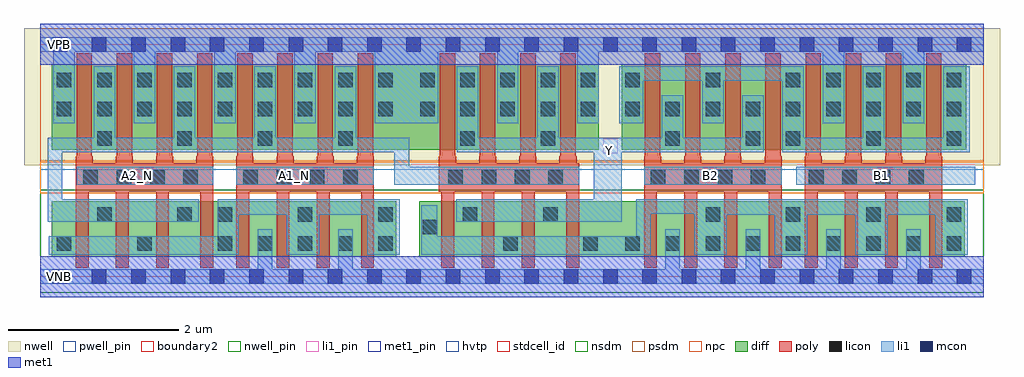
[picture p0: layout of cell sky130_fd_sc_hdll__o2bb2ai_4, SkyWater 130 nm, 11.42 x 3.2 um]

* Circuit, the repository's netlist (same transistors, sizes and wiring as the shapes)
* Copyright 2020 The SkyWater PDK Authors
*
* Licensed under the Apache License, Version 2.0 (the "License");
* you may not use this file except in compliance with the License.
* You may obtain a copy of the License at
*
*     https://www.apache.org/licenses/LICENSE-2.0
*
* Unless required by applicable law or agreed to in writing, software
* distributed under the License is distributed on an "AS IS" BASIS,
* WITHOUT WARRANTIES OR CONDITIONS OF ANY KIND, either express or implied.
* See the License for the specific language governing permissions and
* limitations under the License.
*
* SPDX-License-Identifier: Apache-2.0

.SUBCKT sky130_fd_sc_hdll__o2bb2ai_4 A1_N A2_N B1 B2 VGND VNB VPB VPWR Y
*.PININFO A1_N:I A2_N:I B1:I B2:I VGND:I VNB:I VPB:I VPWR:I Y:O
MMNnand0 VGND A1_N sndNA1N VNB sky130_fd_pr__nfet_01v8 m=4 w=0.65U l=0.15U mult=1
+ sa=0.265 sb=0.265 sd=0.28 area=0.063 perim=1.14
MMNnand1 sndNA1N A2_N inand VNB sky130_fd_pr__nfet_01v8 m=4 w=0.65U l=0.15U mult=1
+ sa=0.265 sb=0.265 sd=0.28 area=0.063 perim=1.14
MMNaoi10 nmid B1 VGND VNB sky130_fd_pr__nfet_01v8 m=4 w=0.65U l=0.15U mult=1 sa=0.265
+ sb=0.265 sd=0.28 area=0.063 perim=1.14
MMNaoi11 nmid B2 VGND VNB sky130_fd_pr__nfet_01v8 m=4 w=0.65U l=0.15U mult=1 sa=0.265
+ sb=0.265 sd=0.28 area=0.063 perim=1.14
MMNaoi20 Y inand nmid VNB sky130_fd_pr__nfet_01v8 m=4 w=0.65U l=0.15U mult=1 sa=0.265
+ sb=0.265 sd=0.28 area=0.063 perim=1.14
MMPnand0 inand A1_N VPWR VPB sky130_fd_pr__pfet_01v8_hvt m=4 w=1.0U l=0.18U mult=1
+ sa=0.265 sb=0.265 sd=0.28 area=0.063 perim=1.14
MMPnand1 inand A2_N VPWR VPB sky130_fd_pr__pfet_01v8_hvt m=4 w=1.0U l=0.18U mult=1
+ sa=0.265 sb=0.265 sd=0.28 area=0.063 perim=1.14
MMPaoi10 VPWR B1 sndPB1 VPB sky130_fd_pr__pfet_01v8_hvt m=4 w=1.0U l=0.18U mult=1
+ sa=0.265 sb=0.265 sd=0.28 area=0.063 perim=1.14
MMPaoi11 sndPB1 B2 Y VPB sky130_fd_pr__pfet_01v8_hvt m=4 w=1.0U l=0.18U mult=1
+ sa=0.265 sb=0.265 sd=0.28 area=0.063 perim=1.14
MMPaoi20 Y inand VPWR VPB sky130_fd_pr__pfet_01v8_hvt m=4 w=1.0U l=0.18U mult=1
+ sa=0.265 sb=0.265 sd=0.28 area=0.063 perim=1.14
.ENDS sky130_fd_sc_hdll__o2bb2ai_4

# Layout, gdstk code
import gdstk
lib = gdstk.Library(unit=1e-6, precision=1e-09)
def R(c, l, rs):  # rectangles x0, y0, x1, y1
    for r in rs: c.add(gdstk.rectangle(r[:2], r[2:], *l))
def A(c, l, x, y, w, h, nx, ny, dx, dy):  # array of equal rectangles
    R(c, l, [(x+i*dx, y+j*dy, x+i*dx+w, y+j*dy+h) for i in range(nx) for j in range(ny)])
def P(c, l, *ps):  # polygons
    for p in ps: c.add(gdstk.Polygon(p, *l))
nwell_pin = (64, 16)
nwell = (64, 20)
diff = (65, 20)
poly = (66, 20)
licon = (66, 44)
li1_pin = (67, 16)
li1 = (67, 20)
mcon = (67, 44)
met1_pin = (68, 16)
met1 = (68, 20)
hvtp = (78, 44)
stdcell_id = (81, 4)
nsdm = (93, 44)
psdm = (94, 20)
npc = (95, 20)
pwell_pin = (122, 16)
boundary2 = (236, 0)

sky130_fd_sc_hdll__o2bb2 = lib.new_cell('sky130_fd_sc_hdll__o2bb2ai_4')
R(sky130_fd_sc_hdll__o2bb2, nwell_pin, [(0.135,2.635,0.305,2.805)])
R(sky130_fd_sc_hdll__o2bb2, nwell, [(-0.19,1.305,11.23,2.91)])
R(sky130_fd_sc_hdll__o2bb2, diff, [(0.135,0.235,4.165,0.885), (4.435,0.235,10.815,0.885), (0.135,1.485,6.535,2.485), (6.805,1.485,10.835,2.485)])
P(sky130_fd_sc_hdll__o2bb2, poly, [(2.025,1.41),(2.015,1.41),(2.015,2.615),(1.835,2.615),(1.835,1.41),(1.825,1.41),(1.825,1.325),(1.555,1.325),(1.555,1.41),(1.545,1.41),(1.545,2.615),(1.365,2.615),(1.365,1.41),(1.355,1.41),(1.355,1.325),(1.085,1.325),(1.085,1.41),(1.075,1.41),(1.075,2.615),(0.895,2.615),(0.895,1.41),(0.885,1.41),(0.885,1.325),(0.615,1.325),(0.615,1.41),(0.605,1.41),(0.605,2.615),(0.425,2.615),(0.425,1.41),(0.415,1.41),(0.415,0.105),(0.565,0.105),(0.565,0.995),(0.885,0.995),(0.885,0.105),(1.035,0.105),(1.035,0.995),(1.355,0.995),(1.355,0.105),(1.505,0.105),(1.505,0.995),(1.875,0.995),(1.875,0.105),(2.025,0.105)],
  [(3.905,1.41),(3.895,1.41),(3.895,2.615),(3.715,2.615),(3.715,1.41),(3.705,1.41),(3.705,1.325),(3.435,1.325),(3.435,1.41),(3.425,1.41),(3.425,2.615),(3.245,2.615),(3.245,1.41),(3.235,1.41),(3.235,1.325),(2.965,1.325),(2.965,1.41),(2.955,1.41),(2.955,2.615),(2.775,2.615),(2.775,1.41),(2.765,1.41),(2.765,1.325),(2.495,1.325),(2.495,1.41),(2.485,1.41),(2.485,2.615),(2.305,2.615),(2.305,1.41),(2.295,1.41),(2.295,0.105),(2.445,0.105),(2.445,0.995),(2.765,0.995),(2.765,0.105),(2.915,0.105),(2.915,0.995),(3.235,0.995),(3.235,0.105),(3.385,0.105),(3.385,0.995),(3.755,0.995),(3.755,0.105),(3.905,0.105)],
  [(6.305,1.325),(6.275,1.325),(6.275,1.41),(6.265,1.41),(6.265,2.615),(6.085,2.615),(6.085,1.41),(6.075,1.41),(6.075,1.325),(5.805,1.325),(5.805,1.41),(5.795,1.41),(5.795,2.615),(5.615,2.615),(5.615,1.41),(5.605,1.41),(5.605,1.325),(5.335,1.325),(5.335,1.41),(5.325,1.41),(5.325,2.615),(5.145,2.615),(5.145,1.41),(5.135,1.41),(5.135,1.325),(4.865,1.325),(4.865,1.41),(4.855,1.41),(4.855,2.615),(4.675,2.615),(4.675,1.41),(4.665,1.41),(4.665,0.995),(4.695,0.995),(4.695,0.105),(4.845,0.105),(4.845,0.995),(5.165,0.995),(5.165,0.105),(5.315,0.105),(5.315,0.995),(5.635,0.995),(5.635,0.105),(5.785,0.105),(5.785,0.995),(6.155,0.995),(6.155,0.105),(6.305,0.105)],
  [(8.675,1.41),(8.665,1.41),(8.665,2.615),(8.485,2.615),(8.485,1.41),(8.475,1.41),(8.475,1.325),(8.205,1.325),(8.205,1.41),(8.195,1.41),(8.195,2.615),(8.015,2.615),(8.015,1.41),(8.005,1.41),(8.005,1.325),(7.735,1.325),(7.735,1.41),(7.725,1.41),(7.725,2.615),(7.545,2.615),(7.545,1.41),(7.535,1.41),(7.535,1.325),(7.265,1.325),(7.265,1.41),(7.255,1.41),(7.255,2.615),(7.075,2.615),(7.075,1.41),(7.065,1.41),(7.065,0.105),(7.215,0.105),(7.215,0.995),(7.535,0.995),(7.535,0.105),(7.685,0.105),(7.685,0.995),(8.005,0.995),(8.005,0.105),(8.155,0.105),(8.155,0.995),(8.525,0.995),(8.525,0.105),(8.675,0.105)],
  [(10.555,1.41),(10.545,1.41),(10.545,2.615),(10.365,2.615),(10.365,1.41),(10.355,1.41),(10.355,1.325),(10.085,1.325),(10.085,1.41),(10.075,1.41),(10.075,2.615),(9.895,2.615),(9.895,1.41),(9.885,1.41),(9.885,1.325),(9.615,1.325),(9.615,1.41),(9.605,1.41),(9.605,2.615),(9.425,2.615),(9.425,1.41),(9.415,1.41),(9.415,1.325),(9.145,1.325),(9.145,1.41),(9.135,1.41),(9.135,2.615),(8.955,2.615),(8.955,1.41),(8.945,1.41),(8.945,0.105),(9.095,0.105),(9.095,0.995),(9.415,0.995),(9.415,0.105),(9.565,0.105),(9.565,0.995),(9.885,0.995),(9.885,0.105),(10.035,0.105),(10.035,0.995),(10.405,0.995),(10.405,0.105),(10.555,0.105)])
A(sky130_fd_sc_hdll__o2bb2, licon, 0.195, 0.305, 0.17, 0.17, 3, 1, 0.94, 0)
A(sky130_fd_sc_hdll__o2bb2, licon, 2.545, 0.305, 0.17, 0.17, 4, 1, 0.47, 0)
A(sky130_fd_sc_hdll__o2bb2, licon, 6.845, 0.305, 0.17, 0.17, 9, 2, 0.47, 1.57)
A(sky130_fd_sc_hdll__o2bb2, licon, 2.075, 0.645, 0.17, 0.17, 3, 1, 0.94, 0)
A(sky130_fd_sc_hdll__o2bb2, licon, 7.785, 0.645, 0.17, 0.17, 4, 1, 0.94, 0)
A(sky130_fd_sc_hdll__o2bb2, licon, 0.505, 1.075, 0.17, 0.17, 4, 1, 0.39, 0)
A(sky130_fd_sc_hdll__o2bb2, licon, 2.375, 1.075, 0.17, 0.17, 4, 1, 0.39, 0)
A(sky130_fd_sc_hdll__o2bb2, licon, 4.775, 1.075, 0.17, 0.17, 4, 1, 0.39, 0)
A(sky130_fd_sc_hdll__o2bb2, licon, 7.145, 1.075, 0.17, 0.17, 4, 1, 0.39, 0)
A(sky130_fd_sc_hdll__o2bb2, licon, 8.995, 1.075, 0.17, 0.17, 4, 1, 0.39, 0)
A(sky130_fd_sc_hdll__o2bb2, licon, 0.665, 1.535, 0.17, 0.17, 4, 1, 0.94, 0)
A(sky130_fd_sc_hdll__o2bb2, licon, 8.725, 1.535, 0.17, 0.17, 3, 1, 0.94, 0)
A(sky130_fd_sc_hdll__o2bb2, licon, 0.195, 1.875, 0.17, 0.17, 9, 2, 0.47, 0.34)
A(sky130_fd_sc_hdll__o2bb2, licon, 4.445, 1.875, 0.17, 0.17, 5, 2, 0.47, 0.34)
A(sky130_fd_sc_hdll__o2bb2, licon, 6.845, 2.215, 0.17, 0.17, 3, 1, 0.94, 0)
A(sky130_fd_sc_hdll__o2bb2, licon, 9.195, 2.215, 0.17, 0.17, 4, 1, 0.47, 0)
R(sky130_fd_sc_hdll__o2bb2, licon, [(5.415,0.305,5.585,0.475), (6.355,0.305,6.525,0.475), (4.475,0.495,4.645,0.665), (0.665,0.645,0.835,0.815), (1.605,0.645,1.775,0.815), (4.945,0.645,5.115,0.815), (5.885,0.645,6.055,0.815), (4.915,1.535,5.085,1.705), (5.855,1.535,6.025,1.705), (7.315,1.535,7.485,1.705), (8.255,1.535,8.425,1.705)])
R(sky130_fd_sc_hdll__o2bb2, li1_pin, [(1.155,1.105,1.325,1.275), (3.195,1.105,3.365,1.275), (7.745,1.105,7.915,1.275), (9.8,1.105,9.97,1.275), (6.585,1.445,6.755,1.615)])
R(sky130_fd_sc_hdll__o2bb2, li1, [(0.425,1.075,2.025,1.285), (2.295,1.075,3.905,1.285), (7.065,1.075,8.675,1.285), (8.845,1.075,10.94,1.285)])
P(sky130_fd_sc_hdll__o2bb2, li1, [(11.04,0.085),(10.305,0.085),(10.305,0.555),(10.135,0.555),(10.135,0.085),(9.365,0.085),(9.365,0.555),(9.195,0.555),(9.195,0.085),(8.425,0.085),(8.425,0.555),(8.255,0.555),(8.255,0.085),(7.485,0.085),(7.485,0.555),(7.315,0.555),(7.315,0.085),(3.655,0.085),(3.655,0.555),(3.485,0.555),(3.485,0.085),(2.715,0.085),(2.715,0.555),(2.545,0.555),(2.545,0.085),(0,0.085),(0,-0.085),(11.04,-0.085)],
  [(11.04,2.805),(0,2.805),(0,2.635),(0.155,2.635),(0.155,1.795),(0.405,1.795),(0.405,2.635),(1.095,2.635),(1.095,1.795),(1.345,1.795),(1.345,2.635),(2.035,2.635),(2.035,1.795),(2.285,1.795),(2.285,2.635),(2.975,2.635),(2.975,1.795),(3.225,1.795),(3.225,2.635),(3.915,2.635),(3.915,1.795),(4.655,1.795),(4.655,2.635),(5.345,2.635),(5.345,1.795),(5.595,1.795),(5.595,2.635),(6.285,2.635),(6.285,1.795),(6.535,1.795),(6.535,2.635),(9.155,2.635),(9.155,1.795),(9.405,1.795),(9.405,2.635),(10.095,2.635),(10.095,1.795),(10.345,1.795),(10.345,2.635),(11.04,2.635)],
  [(4.205,0.905),(2.075,0.905),(2.075,0.475),(0.1,0.475),(0.1,0.255),(2.325,0.255),(2.325,0.725),(2.885,0.725),(2.885,0.255),(3.265,0.255),(3.265,0.725),(3.825,0.725),(3.825,0.255),(4.205,0.255)],
  [(6.305,1.285),(4.315,1.285),(4.315,1.625),(3.695,1.625),(3.695,2.465),(3.445,2.465),(3.445,1.625),(2.755,1.625),(2.755,2.465),(2.505,2.465),(2.505,1.625),(1.815,1.625),(1.815,2.465),(1.565,2.465),(1.565,1.625),(0.875,1.625),(0.875,2.465),(0.625,2.465),(0.625,1.625),(0.085,1.625),(0.085,0.645),(1.855,0.645),(1.855,0.905),(0.255,0.905),(0.255,1.455),(4.145,1.455),(4.145,1.075),(6.305,1.075)],
  [(8.465,2.125),(8.215,2.125),(8.215,1.625),(7.525,1.625),(7.525,2.125),(7.275,2.125),(7.275,1.625),(6.065,1.625),(6.065,2.465),(5.815,2.465),(5.815,1.625),(5.125,1.625),(5.125,2.465),(4.875,2.465),(4.875,1.455),(6.475,1.455),(6.475,0.905),(4.865,0.905),(4.865,0.645),(6.805,0.645),(6.805,1.455),(8.465,1.455)],
  [(10.855,0.905),(6.975,0.905),(6.975,0.475),(4.645,0.475),(4.645,0.835),(4.46,0.835),(4.46,0.255),(7.145,0.255),(7.145,0.735),(7.655,0.735),(7.655,0.255),(8.035,0.255),(8.035,0.725),(8.595,0.725),(8.595,0.255),(8.975,0.255),(8.975,0.725),(9.535,0.725),(9.535,0.255),(9.915,0.255),(9.915,0.725),(10.475,0.725),(10.475,0.255),(10.855,0.255)],
  [(10.875,2.465),(10.565,2.465),(10.565,1.625),(9.875,1.625),(9.875,2.465),(9.625,2.465),(9.625,1.625),(8.935,1.625),(8.935,2.465),(6.775,2.465),(6.775,1.795),(7.055,1.795),(7.055,2.295),(7.745,2.295),(7.745,1.795),(7.995,1.795),(7.995,2.295),(8.685,2.295),(8.685,1.455),(10.875,1.455)])
A(sky130_fd_sc_hdll__o2bb2, mcon, 0.145, -0.085, 0.17, 0.17, 24, 2, 0.46, 2.72)
R(sky130_fd_sc_hdll__o2bb2, met1_pin, [(0.135,-0.085,0.305,0.085), (0.135,2.635,0.305,2.805)])
R(sky130_fd_sc_hdll__o2bb2, met1, [(0,-0.24,11.04,0.24), (0,2.48,11.04,2.96)])
R(sky130_fd_sc_hdll__o2bb2, hvtp, [(0,1.25,11.04,2.72)])
R(sky130_fd_sc_hdll__o2bb2, stdcell_id, [(0,0,11.04,2.72)])
R(sky130_fd_sc_hdll__o2bb2, nsdm, [(0,-0.19,11.04,1.015)])
R(sky130_fd_sc_hdll__o2bb2, psdm, [(0,1.355,11.04,2.91)])
R(sky130_fd_sc_hdll__o2bb2, npc, [(0,0.975,11.04,1.345)])
R(sky130_fd_sc_hdll__o2bb2, pwell_pin, [(0.135,-0.085,0.305,0.085)])
R(sky130_fd_sc_hdll__o2bb2, boundary2, [(0,0,11.04,2.72)])
sky130_fd_sc_hdll__o2bb2.add(gdstk.Label('A1_N', (2.98,1.19), layer=67, texttype=5))
sky130_fd_sc_hdll__o2bb2.add(gdstk.Label('B1', (9.845,1.19), layer=67, texttype=5))
sky130_fd_sc_hdll__o2bb2.add(gdstk.Label('B2', (7.845,1.19), layer=67, texttype=5))
sky130_fd_sc_hdll__o2bb2.add(gdstk.Label('A2_N', (1.14,1.19), layer=67, texttype=5))
sky130_fd_sc_hdll__o2bb2.add(gdstk.Label('Y', (6.66,1.475), layer=67, texttype=5))
sky130_fd_sc_hdll__o2bb2.add(gdstk.Label('VPB', (0.23,2.72), layer=64, texttype=5))
sky130_fd_sc_hdll__o2bb2.add(gdstk.Label('VNB', (0.23,0), layer=64, texttype=59))
sky130_fd_sc_hdll__o2bb2.add(gdstk.Label('VGND', (0.23,0), layer=68, texttype=5))
sky130_fd_sc_hdll__o2bb2.add(gdstk.Label('VPWR', (0.23,2.72), layer=68, texttype=5))
sky130_fd_sc_hdll__o2bb2.add(gdstk.Label('o2bb2ai_4', (0,0), layer=83, texttype=44))

lib.write_gds('sky130_fd_sc_hdll__o2bb2ai_4.gds')
